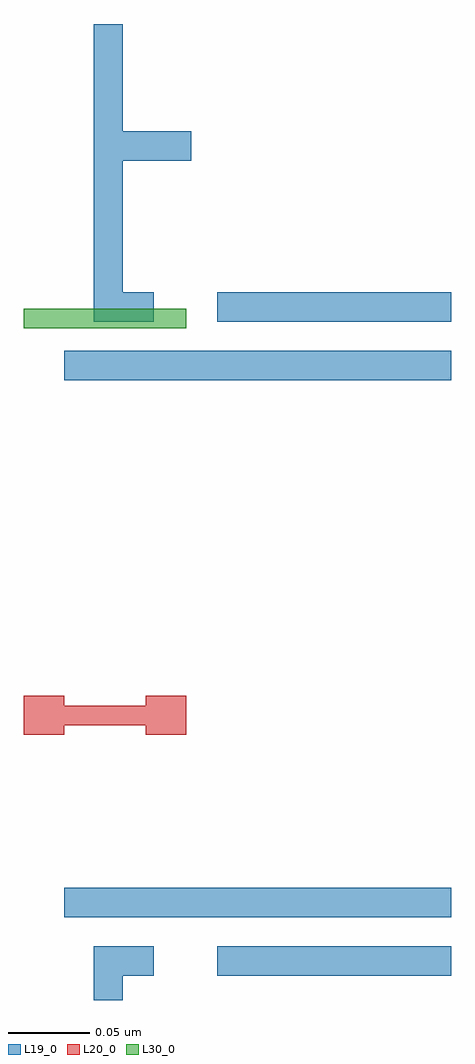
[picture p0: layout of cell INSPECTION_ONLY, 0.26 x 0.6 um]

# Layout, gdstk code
import gdstk
lib = gdstk.Library(unit=1e-6, precision=2.5e-10)
def R(c, l, rs):  # rectangles x0, y0, x1, y1
    for r in rs: c.add(gdstk.rectangle(r[:2], r[2:], *l))
def P(c, l, *ps):  # polygons
    for p in ps: c.add(gdstk.Polygon(p, *l))
L19_0 = (19, 0)
L20_0 = (20, 0)
L30_0 = (30, 0)

inspection_only = lib.new_cell('INSPECTION_ONLY')
R(inspection_only, L19_0, [(0.094,0.225,0.238,0.243), (0,0.261,0.238,0.279), (0,0.591,0.238,0.609), (0.094,0.627,0.238,0.645)])
P(inspection_only, L19_0, [(0.018,0.21),(0.018,0.243),(0.055,0.243),(0.055,0.225),(0.036,0.225),(0.036,0.21)],
  [(0.018,0.627),(0.018,0.81),(0.036,0.81),(0.036,0.744),(0.078,0.744),(0.078,0.726),(0.036,0.726),(0.036,0.645),(0.055,0.645),(0.055,0.627)])
P(inspection_only, L20_0, [(-0.025,0.373),(-0.025,0.397),(0,0.397),(0,0.391),(0.05,0.391),(0.05,0.397),(0.075,0.397),(0.075,0.373),(0.05,0.373),(0.05,0.379),(0,0.379),(0,0.373)])
R(inspection_only, L30_0, [(-0.025,0.623,0.075,0.635)])

lib.write_gds('INSPECTION_ONLY.gds')
